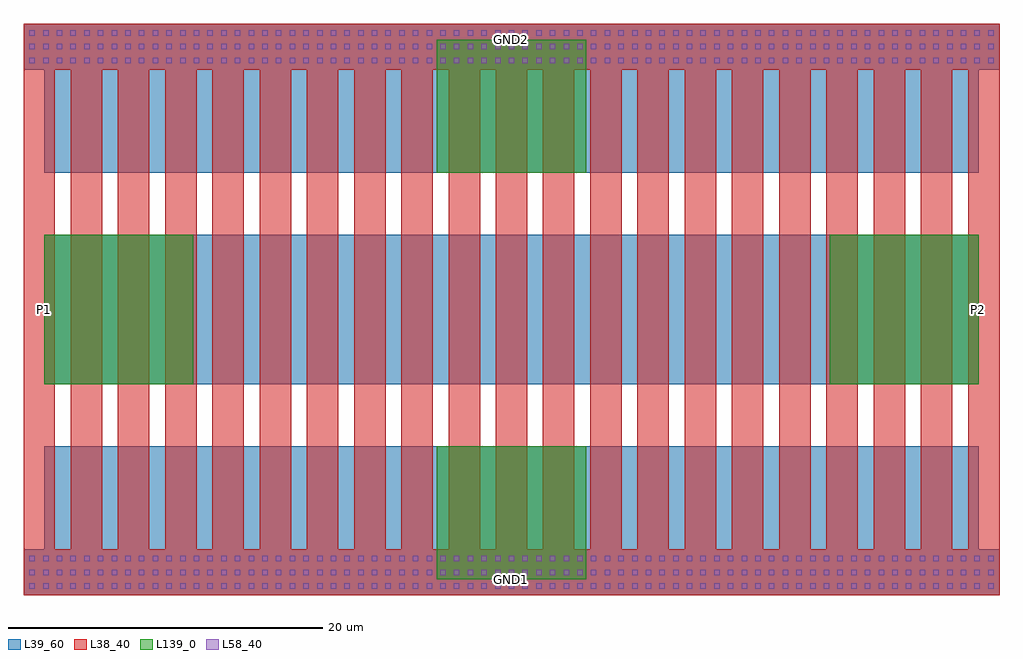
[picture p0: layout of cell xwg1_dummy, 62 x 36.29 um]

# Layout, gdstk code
import gdstk
lib = gdstk.Library(unit=1e-6, precision=1e-09)
def R(c, l, rs):  # rectangles x0, y0, x1, y1
    for r in rs: c.add(gdstk.rectangle(r[:2], r[2:], *l))
def A(c, l, x, y, w, h, nx, ny, dx, dy):  # array of equal rectangles
    R(c, l, [(x+i*dx, y+j*dy, x+i*dx+w, y+j*dy+h) for i in range(nx) for j in range(ny)])
L38_40 = (38, 40)
L39_60 = (39, 60)
L58_40 = (58, 40)
L139_0 = (139, 0)

xwg1_dummy = lib.new_cell('xwg1_dummy')
A(xwg1_dummy, L38_40, -1.32, -13.41, 2, 36.29, 21, 1, 3, 0)
R(xwg1_dummy, L38_40, [(-1.32,-13.41,60.68,-10.51), (-1.32,19.98,60.68,22.88)])
R(xwg1_dummy, L39_60, [(-1.32,-13.41,60.68,-10.51), (0,-12.41,59.36,-3.94), (0,0,59.36,9.47), (0,13.41,59.36,21.88), (-1.32,19.98,60.68,22.88)])
A(xwg1_dummy, L58_40, -0.945, -13.005, 0.35, 0.35, 71, 3, 0.87, 0.87)
A(xwg1_dummy, L58_40, -0.945, 20.385, 0.35, 0.35, 71, 3, 0.87, 0.87)
R(xwg1_dummy, L139_0, [(24.945,-12.41,34.415,-3.94), (0,0,9.47,9.47), (49.89,0,59.36,9.47), (24.945,13.41,34.415,21.88)])
xwg1_dummy.add(gdstk.Label('GND1', (29.68,-12.41), layer=139, texttype=0))
xwg1_dummy.add(gdstk.Label('GND2', (29.68,21.88), layer=139, texttype=0))
xwg1_dummy.add(gdstk.Label('P1', (0,4.735), layer=139, texttype=0))
xwg1_dummy.add(gdstk.Label('P2', (59.36,4.735), layer=139, texttype=0))

lib.write_gds('xwg1_dummy.gds')
